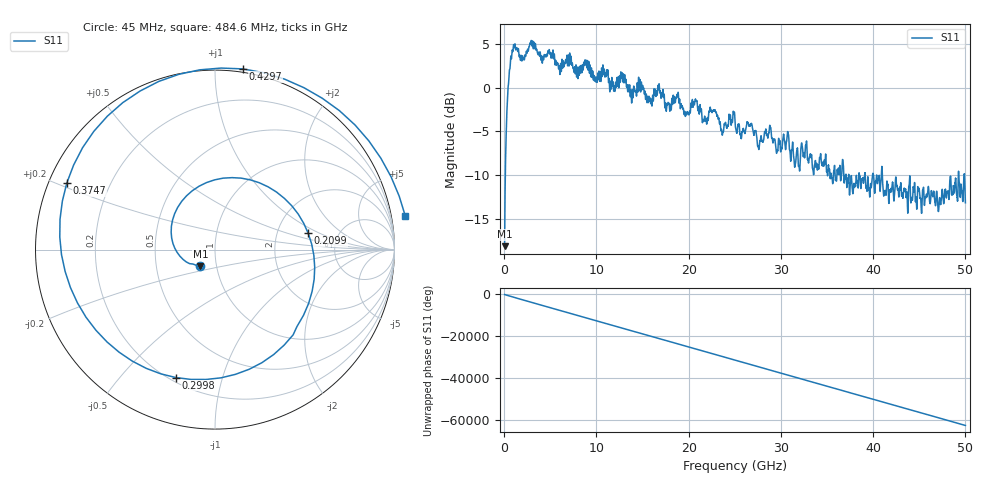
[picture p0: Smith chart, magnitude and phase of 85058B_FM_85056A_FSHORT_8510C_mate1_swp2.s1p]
!Created with skrf (http://scikit-rf.org).
# Hz S RI R 50.0
!freq ReS11 ImS11
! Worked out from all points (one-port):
!   10001 points, 45 MHz to 50 GHz, reference 50 ohm
!   lowest |S11| = -18.2 dB at 45 MHz (marker M1), VSWR 1.28, Z = 41.8 - j7.88 ohm
!   |S11| at or under -10 dB: 37.36 GHz to 38.45 GHz (1.093 GHz wide, 2.88 % of centre); 39.14 GHz to 39.94 GHz (796.7 MHz wide, 2.01 % of centre); 41 GHz to 49.24 GHz (8.24 GHz wide, 18.3 % of centre) (the widest 3 of 16)
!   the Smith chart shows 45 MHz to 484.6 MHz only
!   S11 on the Smith chart (normalised r, x): 45 MHz: 0.84, -0.16; 209.9 MHz: 3.02, +0.76; 299.8 MHz: 0.22, -0.72; 374.7 MHz: 0.05, +0.21; 429.7 MHz: -0.02, +1.17; 484.6 MHz: -4, +10
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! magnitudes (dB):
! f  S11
! 45 MHz  -18.2
! 209.9 MHz  -5.6
! 299.8 MHz  -2.6
! 374.7 MHz  -0.9
! 429.7 MHz  0.2
! 484.6 MHz  0.6
! 794.3 MHz  3.4
! 1.174 GHz  5.0
! 1.978 GHz  3.7
! 3.022 GHz  4.8
! 6.289 GHz  3.0
! 12.53 GHz  1.0
! 15.82 GHz  -1.2
! 18.78 GHz  -1.0
! 19.72 GHz  -2.8
! 20.75 GHz  -1.3
! 21.72 GHz  -3.3
! 22.81 GHz  -2.7
! 23.58 GHz  -4.9
! 25.02 GHz  -3.8
! 26.65 GHz  -4.4
! 27.6 GHz  -7.1
! 30.63 GHz  -6.1
! 31.27 GHz  -6.2
! 32.57 GHz  -8.0
! 37.51 GHz  -11.1
! 43.76 GHz  -14.3
! 50 GHz  -13.2
